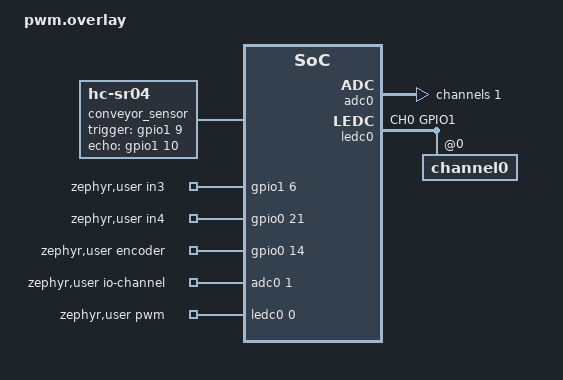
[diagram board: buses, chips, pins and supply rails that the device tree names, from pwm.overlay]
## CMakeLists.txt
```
cmake_minimum_required(VERSION 3.20.0)
list(APPEND EXTRA_CONF_FILE "${CMAKE_CURRENT_SOURCE_DIR}/pwm.conf")
list(APPEND EXTRA_DTC_OVERLAY_FILE "${CMAKE_CURRENT_SOURCE_DIR}/pwm.overlay")

find_package(Zephyr REQUIRED HINTS $ENV{ZEPHYR_BASE})
project(motor_test)

target_sources(app PRIVATE src/main.c)

option(MOTOR_STEP_TEST "Enable the encoder step response test" OFF)
if(MOTOR_STEP_TEST)
  target_compile_definitions(app PRIVATE MOTOR_STEP_TEST)
endif()
```

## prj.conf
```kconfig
CONFIG_GPIO=y
CONFIG_PRINTK=y
CONFIG_ESP_SPIRAM=n
```

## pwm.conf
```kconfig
CONFIG_PWM=y
CONFIG_ADC=y
CONFIG_SENSOR=y
```

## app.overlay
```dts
#include <zephyr/dt-bindings/pinctrl/esp32s3-pinctrl.h>

/ {
	chosen {
		zephyr,console = &uart0;
	};
};

&pinctrl {
	motor_uart0: motor_uart0 {
		group1 {
			pinmux = <UART0_TX_GPIO43>;
			output-high;
		};
		group2 {
			pinmux = <UART0_RX_GPIO44>;
			bias-pull-up;
		};
	};
};

&uart0 {
	status = "okay";
	current-speed = <115200>;
	pinctrl-0 = <&motor_uart0>;
	pinctrl-names = "default";
};
```

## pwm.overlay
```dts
#include <zephyr/dt-bindings/pinctrl/esp32s3-pinctrl.h>
#include <zephyr/dt-bindings/pwm/pwm.h>
#include <zephyr/dt-bindings/adc/adc.h>
#include <zephyr/dt-bindings/gpio/gpio.h>

/ {
	conveyor_sensor: conveyor-sensor {
		compatible = "hc-sr04";
		trigger-gpios = <&gpio1 9 GPIO_ACTIVE_HIGH>;
		echo-gpios = <&gpio1 10 GPIO_ACTIVE_HIGH>;
	};

	zephyr,user {
		pwms = <&ledc0 0 PWM_HZ(1000) PWM_POLARITY_NORMAL>;
		io-channels = <&adc0 1>;
		in3-gpios = <&gpio1 6 GPIO_ACTIVE_HIGH>;
		in4-gpios = <&gpio0 21 GPIO_ACTIVE_HIGH>;
		encoder-gpios = <&gpio0 14 GPIO_ACTIVE_HIGH>;
	};
};

&adc0 {
	status = "okay";
	#address-cells = <1>;
	#size-cells = <0>;

	channel@1 {
		reg = <1>;
		zephyr,gain = "ADC_GAIN_1_4";
		zephyr,reference = "ADC_REF_INTERNAL";
		zephyr,acquisition-time = <ADC_ACQ_TIME_DEFAULT>;
		zephyr,resolution = <12>;
	};
};

&pinctrl {
	motor_pwm_pins: motor_pwm_pins {
		group1 {
			pinmux = <LEDC_CH0_GPIO1>;
			output-enable;
		};
	};
};

&ledc0 {
	status = "okay";
	pinctrl-0 = <&motor_pwm_pins>;
	pinctrl-names = "default";
	#address-cells = <1>;
	#size-cells = <0>;

	channel0@0 {
		reg = <0>;
		timer = <0>;
	};
};
```

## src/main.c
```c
#include <zephyr/drivers/adc.h>
#include <zephyr/drivers/gpio.h>
#include <zephyr/drivers/pwm.h>
#include <zephyr/drivers/sensor.h>
#include <zephyr/kernel.h>
#include <zephyr/sys/atomic.h>
#include <zephyr/sys/printk.h>

#ifdef UNOQ_SORT_STATION
#include <zephyr/drivers/uart.h>
#include <zephyr/sys/ring_buffer.h>
#include <stdlib.h>
#endif

#define POT_STOP_MV 200
#define POT_FULL_MV 2800
#define MOTOR_MIN_DUTY 0
#define MOTOR_MAX_DUTY 50
#define OBJECT_STOP_MM 100
#define STATION_STOP_MM 25

#define MOTOR_NODE DT_PATH(zephyr_user)

static const struct gpio_dt_spec in3 = GPIO_DT_SPEC_GET(MOTOR_NODE, in3_gpios);
static const struct gpio_dt_spec in4 = GPIO_DT_SPEC_GET(MOTOR_NODE, in4_gpios);
static const struct pwm_dt_spec motor_enable = PWM_DT_SPEC_GET(MOTOR_NODE);

#ifndef UNOQ_AUTO_STEP_TEST
static const struct device *const distance_sensor = DEVICE_DT_GET(DT_NODELABEL(conveyor_sensor));

static bool conveyor_path_is_clear(int *measured_mm)
{
	static bool was_blocked;
	struct sensor_value distance;
	int64_t distance_mm = -1;

	if (device_is_ready(distance_sensor) &&
	    sensor_sample_fetch_chan(distance_sensor, SENSOR_CHAN_DISTANCE) == 0 &&
	    sensor_channel_get(distance_sensor, SENSOR_CHAN_DISTANCE, &distance) == 0) {
		distance_mm = sensor_value_to_milli(&distance);
	}
	if (measured_mm != NULL) {
		*measured_mm = (int)distance_mm;
	}

	bool blocked = distance_mm > 0 && distance_mm < OBJECT_STOP_MM;
	if (blocked != was_blocked) {
		if (blocked) {
			printk("Conveyor path blocked (distance %d mm)\n", (int)distance_mm);
		} else {
			printk("Conveyor path clear\n");
		}
		was_blocked = blocked;
	}

	return !blocked;
}
#endif

#if defined(MOTOR_STEP_TEST) || defined(UNOQ_CONVEYOR)
static const struct gpio_dt_spec encoder = GPIO_DT_SPEC_GET(MOTOR_NODE, encoder_gpios);
static struct gpio_callback encoder_callback;
static atomic_t encoder_count;

static void count_encoder_edge(const struct device *port, struct gpio_callback *callback,
			       gpio_port_pins_t pins)
{
	atomic_inc(&encoder_count);
}

static int setup_encoder(void)
{
	if (!gpio_is_ready_dt(&encoder)) {
		return -ENODEV;
	}

	int ret = gpio_pin_configure_dt(&encoder, GPIO_INPUT | GPIO_PULL_UP);
	if (ret < 0) {
		return ret;
	}

	gpio_init_callback(&encoder_callback, count_encoder_edge, BIT(encoder.pin));
	ret = gpio_add_callback(encoder.port, &encoder_callback);
	if (ret < 0) {
		return ret;
	}
	return gpio_pin_interrupt_configure_dt(&encoder, GPIO_INT_EDGE_RISING);
}
#endif

#if !defined(MOTOR_STEP_TEST) || (defined(UNOQ_CONVEYOR) && !defined(UNOQ_AUTO_STEP_TEST))
static const struct adc_dt_spec speed_knob = ADC_DT_SPEC_GET(MOTOR_NODE);

static int read_knob_mv(int32_t *voltage_mv)
{
	uint16_t raw;
	struct adc_sequence sequence = {
		.buffer = &raw,
		.buffer_size = sizeof(raw),
	};

	int ret = adc_sequence_init_dt(&speed_knob, &sequence);
	if (ret == 0) {
		ret = adc_read_dt(&speed_knob, &sequence);
	}
	if (ret < 0) {
		return ret;
	}

	*voltage_mv = raw;
	return adc_raw_to_millivolts_dt(&speed_knob, voltage_mv);
}
#endif

#ifdef MOTOR_STEP_TEST
#ifdef UNOQ_AUTO_STEP_TEST
#define STEP_LOW_DUTY 60U
#define STEP_HIGH_DUTY 90U
#define STEP_AT_MS 10000
#define STEP_END_MS 20000
#else
#define STEP_LOW_DUTY 35U
#define STEP_HIGH_DUTY 60U
#define STEP_AT_MS 5000
#define STEP_END_MS 10000
#endif
#define SAMPLE_MS 100

#ifdef UNOQ_CONVEYOR
struct step_sample {
	uint32_t elapsed_ms;
	uint32_t duty;
	uint32_t pulses;
};

/* Keep a copy for SWD readout after the run, when Linux owns the serial port. */
static volatile struct {
	uint32_t finished;
	uint32_t count;
	const char *error;
	struct step_sample samples[1 + STEP_END_MS / SAMPLE_MS];
} unoq_step_log;
#endif

#ifdef UNOQ_AUTO_STEP_TEST
static int wait_for_step_start(void)
{
	printk("Automatic step test starts in 5 seconds.\n");
	k_sleep(K_SECONDS(5));
	return 0;
}
#elif defined(UNOQ_CONVEYOR)
static int wait_for_step_start(void)
{
	int32_t voltage_mv;
	bool knob_zero_seen = false;

	printk("Step test ready. Turn the knob fully down, then fully up to start.\n");
	for (;;) {
		int ret = read_knob_mv(&voltage_mv);
		if (ret < 0) {
			return ret;
		}
		if (voltage_mv <= POT_STOP_MV) {
			knob_zero_seen = true;
		}
		if (knob_zero_seen && voltage_mv >= POT_FULL_MV) {
			return 0;
		}
		k_sleep(K_MSEC(20));
	}
}
#else
static const struct gpio_dt_spec boot_button = GPIO_DT_SPEC_GET(DT_ALIAS(sw0), gpios);

static int wait_for_step_start(void)
{
	printk("Press BOOT for the 35%% to 60%% PWM step test.\n");
	int pressed;
	do {
		k_sleep(K_MSEC(20));
		pressed = gpio_pin_get_dt(&boot_button);
	} while (pressed == 0);
	return pressed < 0 ? pressed : 0;
}
#endif

static void report_step_sample(uint32_t elapsed_ms, uint32_t duty, uint32_t pulses)
{
#ifdef UNOQ_CONVEYOR
	uint32_t index = unoq_step_log.count;

	unoq_step_log.samples[index] = (struct step_sample){elapsed_ms, duty, pulses};
	unoq_step_log.count = index + 1;
#endif
	printk("STEP,%u,%u,%u\n", elapsed_ms, duty, pulses);
}

static int set_step_duty(uint32_t duty)
{
	return pwm_set_pulse_dt(&motor_enable, motor_enable.period * duty / 100U);
}

static const char *record_step(void)
{
#ifndef UNOQ_AUTO_STEP_TEST
	if (!conveyor_path_is_clear(NULL)) {
		return "path blocked";
	}
#endif

	atomic_clear(&encoder_count);
	if (set_step_duty(STEP_LOW_DUTY) < 0) {
		return "could not apply the initial PWM duty";
	}

	int64_t start_ms = k_uptime_get();
	uint32_t duty = STEP_LOW_DUTY;
	atomic_val_t settling_count = 0;

	report_step_sample(0, duty, 0);
	for (int sample_ms = SAMPLE_MS; sample_ms <= STEP_END_MS; sample_ms += SAMPLE_MS) {
		k_sleep(K_TIMEOUT_ABS_MS(start_ms + sample_ms));
#if defined(UNOQ_CONVEYOR) && !defined(UNOQ_AUTO_STEP_TEST)
		int32_t voltage_mv;
		if (read_knob_mv(&voltage_mv) < 0 || voltage_mv <= POT_STOP_MV) {
			return "speed knob at zero or ADC error";
		}
#endif
#ifndef UNOQ_AUTO_STEP_TEST
		if (!conveyor_path_is_clear(NULL)) {
			return "path blocked";
		}
#endif

		atomic_val_t count = atomic_get(&encoder_count);
		if (sample_ms == STEP_AT_MS - 1000) {
			settling_count = count;
		}
		if (sample_ms == STEP_AT_MS) {
			if (count == settling_count) {
				return "no encoder pulses during the last second before the step";
			}
			if (set_step_duty(STEP_HIGH_DUTY) < 0) {
				return "could not apply the higher PWM duty";
			}
			duty = STEP_HIGH_DUTY;
		}
		report_step_sample((uint32_t)(k_uptime_get() - start_ms), duty, (uint32_t)count);
	}
	return NULL;
}

static const char *prepare_step_test(void)
{
#ifndef UNOQ_AUTO_STEP_TEST
	if (!device_is_ready(distance_sensor)) {
		return "distance sensor setup failed";
	}
#endif
#if defined(UNOQ_CONVEYOR) && !defined(UNOQ_AUTO_STEP_TEST)
	if (!adc_is_ready_dt(&speed_knob) || adc_channel_setup_dt(&speed_knob) < 0) {
		return "speed knob setup failed";
	}
#elif !defined(UNOQ_CONVEYOR)
	if (!gpio_is_ready_dt(&boot_button) ||
	    gpio_pin_configure_dt(&boot_button, GPIO_INPUT) < 0) {
		return "BOOT button setup failed";
	}
#endif

	if (setup_encoder() < 0) {
		return "encoder interrupt setup failed";
	}

	return wait_for_step_start() < 0 ? "could not read start control" : NULL;
}

static void run_step_test(void)
{
	const char *error = prepare_step_test();
	if (error == NULL) {
		error = record_step();
	}
	if (set_step_duty(0) < 0) {
		gpio_pin_set_dt(&in3, 0);
		gpio_pin_set_dt(&in4, 0);
		error = "could not set PWM to zero, motor inputs set low";
	}
#ifdef UNOQ_CONVEYOR
	unoq_step_log.error = error;
	unoq_step_log.finished = 1;
#endif
	if (error != NULL) {
		printk("STEP_ABORT,%s\n", error);
	} else {
		printk("STEP_DONE\n");
	}
}
#else
static void update_motor_speed(struct k_work *work);
static K_WORK_DELAYABLE_DEFINE(speed_work, update_motor_speed);

#ifdef UNOQ_SORT_STATION
static const struct device *const station_uart = DEVICE_DT_GET(DT_CHOSEN(zephyr_console));
RING_BUF_DECLARE(station_rx, 128);
static uint32_t station_command;
static int64_t run_until_ms;
static int station_stop_mm = STATION_STOP_MM;
static int station_trip_mm;
static uint32_t jog_start_pulses;
static int64_t jog_until_ms;

#define STATION_JOG_DUTY 65
#define STATION_JOG_TIMEOUT_MS 450

static void station_uart_rx(const struct device *uart, void *user_data)
{
	uint8_t bytes[16];
	int count;

	uart_irq_update(uart);
	if (!uart_irq_rx_ready(uart)) {
		return;
	}
	while ((count = uart_fifo_read(uart, bytes, sizeof(bytes))) > 0) {
		ring_buf_put(&station_rx, bytes, count);
	}
}

static void read_station_commands(void)
{
	static char line[24];
	static size_t length;
	static bool overflow;
	unsigned char ch;

	for (int i = 0; i < 128 && ring_buf_get(&station_rx, &ch, 1) == 1; i++) {
		if (ch == '\n') {
			if (!overflow && length > 2 && line[1] == ' ' &&
			    (line[0] == 'R' || line[0] == 'S' || line[0] == 'J') &&
			    line[2] >= '1' && line[2] <= '9') {
				char *end;
				unsigned long stop_mm = STATION_STOP_MM;

				line[length] = '\0';
				unsigned long id = strtoul(line + 2, &end, 10);
				if (line[0] == 'R' && *end == ' ') {
					stop_mm = strtoul(end + 1, &end, 10);
				}
				if (*end == '\0' && id < 1000000000UL && stop_mm >= 10 && stop_mm <= 400) {
					station_command = id;
					int64_t now = k_uptime_get();
					if (line[0] == 'S') {
						run_until_ms = 0;
						jog_until_ms = 0;
						station_trip_mm = 0;
					} else if (line[0] == 'J' && now >= run_until_ms && !jog_until_ms) {
						jog_start_pulses = (uint32_t)atomic_get(&encoder_count);
						jog_until_ms = now + STATION_JOG_TIMEOUT_MS;
					} else if (line[0] == 'R' && !station_trip_mm && !jog_until_ms) {
						station_stop_mm = (int)stop_mm;
						run_until_ms = now + 1200;
					}
				}
			}
			length = 0;
			overflow = false;
		} else if (length < sizeof(line) - 1) {
			line[length++] = ch;
		} else {
			overflow = true;
		}
	}
}
#endif

#ifdef UNOQ_SPEED_PI
#define SPEED_MIN_RPM 105
#define SPEED_MAX_RPM 120
#define SPEED_PULSES_PER_REV 20U
#define SPEED_WINDOW_SAMPLES 5U
#define SPEED_MAX_DUTY 90.0f
#define SPEED_KP 0.234f
#define SPEED_KI 0.635f
#define SPEED_NO_PULSE_MS 1200

static struct {
	struct {
		int64_t time_ms;
		uint32_t pulses;
	} history[SPEED_WINDOW_SAMPLES];
	uint32_t index;
	uint32_t samples;
	uint32_t last_pulses;
	int64_t last_pulse_ms;
	int64_t last_update_ms;
	float integral;
	bool encoder_fault;
} speed_pi;

static int update_speed_pi(int target_rpm, int64_t now, uint32_t pulses, int *measured_rpm)
{
	uint32_t index = speed_pi.index;
	int64_t window_ms = now - speed_pi.history[index].time_ms;
	int64_t update_ms = MIN(now - speed_pi.last_update_ms, 250);
	float speed = 0.0f;

	if (speed_pi.samples == 0 || pulses != speed_pi.last_pulses) {
		speed_pi.last_pulse_ms = now;
	}
	speed_pi.last_pulses = pulses;
	if (now - speed_pi.last_pulse_ms >= SPEED_NO_PULSE_MS) {
		return -EIO;
	}

	bool window_ready = speed_pi.samples == SPEED_WINDOW_SAMPLES && window_ms > 0;
	if (window_ready) {
		uint32_t pulse_delta = pulses - speed_pi.history[index].pulses;

		speed = (float)pulse_delta * 60000.0f / ((float)window_ms * SPEED_PULSES_PER_REV);
		*measured_rpm = (int)(speed + 0.5f);
	}
	speed_pi.history[index].time_ms = now;
	speed_pi.history[index].pulses = pulses;
	speed_pi.index = (index + 1) % SPEED_WINDOW_SAMPLES;
	speed_pi.samples = MIN(speed_pi.samples + 1, SPEED_WINDOW_SAMPLES);
	speed_pi.last_update_ms = now;

	/* The 60% to 90% run gave about 103 to 124 RPM. */
	float feedforward = 60.0f + (target_rpm - 103.0f) / 0.8f;
	if (!window_ready) {
		return (int)MAX(feedforward, 65.0f);
	}

	float error = target_rpm - speed;
	float base_duty = feedforward + SPEED_KP * error;
	float duty = base_duty + speed_pi.integral;
	if ((error > 0 && duty < SPEED_MAX_DUTY) || (error < 0 && duty > 0)) {
		speed_pi.integral += SPEED_KI * error * (float)update_ms / 1000.0f;
		duty = base_duty + speed_pi.integral;
	}
	return (int)(CLAMP(duty, 0.0f, SPEED_MAX_DUTY) + 0.5f);
}
#endif

static void update_motor_speed(struct k_work *work)
{
	static int last_duty;
#ifdef UNOQ_CONVEYOR
	static bool knob_zero_seen;
#ifndef UNOQ_SORT_STATION
	static int64_t next_status_ms;
#endif
	int distance_mm;
#endif
#ifdef UNOQ_SORT_STATION
	read_station_commands();
#endif
	int32_t voltage_mv;
	int ret = read_knob_mv(&voltage_mv);
	if (ret < 0) {
		pwm_set_pulse_dt(&motor_enable, 0);
		printk("Speed knob ADC error (%d). Motor test stopped.\n", ret);
		return;
	}

	int duty = 0;
#ifdef UNOQ_CONVEYOR
#ifdef UNOQ_SORT_STATION
	int64_t now = k_uptime_get();
	bool jog_cycle = jog_until_ms != 0;
	if (jog_until_ms && (now >= jog_until_ms || voltage_mv <= POT_STOP_MV ||
	    (uint32_t)atomic_get(&encoder_count) != jog_start_pulses)) {
		jog_until_ms = 0;
	}
	bool jogging = jog_until_ms != 0;
	bool seeking = now < run_until_ms;
	distance_mm = -1;
	if (seeking) {
		conveyor_path_is_clear(&distance_mm);
		if (distance_mm > 0 && distance_mm < station_stop_mm) {
			station_trip_mm = distance_mm;
			run_until_ms = 0;
		}
	}
	bool path_clear = k_uptime_get() < run_until_ms;
	bool run_allowed = path_clear || jogging;
#else
	bool path_clear = conveyor_path_is_clear(&distance_mm);
#endif
	if (!knob_zero_seen && voltage_mv <= POT_STOP_MV) {
		knob_zero_seen = true;
		printk("Speed knob at zero. Conveyor ready.\n");
	}
	path_clear = path_clear && knob_zero_seen;
#else
	bool path_clear = conveyor_path_is_clear(NULL);
#endif
#ifdef UNOQ_SPEED_PI
	int target_rpm = 0;
	int measured_rpm = 0;
	int64_t update_time = k_uptime_get();
	uint32_t encoder_pulses = (uint32_t)atomic_get(&encoder_count);

	if (voltage_mv <= POT_STOP_MV) {
		speed_pi.encoder_fault = false;
	}
	if (path_clear && voltage_mv > POT_STOP_MV && !speed_pi.encoder_fault) {
		int32_t travel = MIN(voltage_mv, POT_FULL_MV) - POT_STOP_MV;

		target_rpm = SPEED_MIN_RPM + travel * (SPEED_MAX_RPM - SPEED_MIN_RPM) /
			     (POT_FULL_MV - POT_STOP_MV);
		duty = update_speed_pi(target_rpm, update_time, encoder_pulses, &measured_rpm);
		if (duty < 0) {
			speed_pi.encoder_fault = true;
			duty = 0;
			printk("No encoder pulses. Turn the knob to zero to rearm.\n");
		}
	}
	if (duty == 0 && (target_rpm == 0 || speed_pi.encoder_fault)) {
		speed_pi.index = 0;
		speed_pi.samples = 0;
		speed_pi.integral = 0.0f;
	}
#else
	if (path_clear && voltage_mv > POT_STOP_MV) {
		int32_t travel = MIN(voltage_mv, POT_FULL_MV) - POT_STOP_MV;

		duty = MOTOR_MIN_DUTY + travel * (MOTOR_MAX_DUTY - MOTOR_MIN_DUTY) /
		       (POT_FULL_MV - POT_STOP_MV);
	}
#endif

#ifdef UNOQ_SORT_STATION
	bool jog_motor_ready = knob_zero_seen && voltage_mv > POT_STOP_MV;
#ifdef UNOQ_SPEED_PI
	jog_motor_ready = jog_motor_ready && !speed_pi.encoder_fault;
#endif
	if (jogging && jog_motor_ready) {
		duty = STATION_JOG_DUTY;
	}
#endif
	if (duty != last_duty) {
		ret = pwm_set_pulse_dt(&motor_enable, motor_enable.period * duty / 100U);
		if (ret < 0) {
			pwm_set_pulse_dt(&motor_enable, 0);
			printk("Motor PWM update failed (%d).\n", ret);
			return;
		}
		last_duty = duty;
		printk("Conveyor duty: %d%%\n", duty);
	}

#ifdef UNOQ_CONVEYOR
#ifdef UNOQ_SORT_STATION
	if (station_trip_mm) {
		distance_mm = station_trip_mm;
	} else if (!seeking && !jog_cycle) {
		conveyor_path_is_clear(&distance_mm);
	}
	printk("SORT %u %d %d %u %u\n", station_command, distance_mm, duty,
	       (unsigned int)atomic_get(&encoder_count), (unsigned int)run_allowed);
#else
	int64_t now = k_uptime_get();
	if (now >= next_status_ms) {
#ifdef UNOQ_SPEED_PI
		printk("Speed: target=%d RPM, measured=%d RPM, PWM=%d%%, distance=%d mm\n",
		       target_rpm, measured_rpm, duty, distance_mm);
#else
		printk("Conveyor: knob=%d mV, distance=%d mm, encoder=%u, PWM=%d%%\n",
		       (int)voltage_mv, distance_mm, (unsigned int)atomic_get(&encoder_count), duty);
#endif
		next_status_ms = now + 1000;
	}
#endif
#endif
#ifdef UNOQ_SORT_STATION
	k_work_schedule(k_work_delayable_from_work(work), K_MSEC(jogging ? 15 : 100));
#else
	k_work_schedule(k_work_delayable_from_work(work), K_MSEC(100));
#endif
}
#endif

#ifdef MOTOR_TEST_ON_BOOT
void motor_test_start(void);
void motor_test_start(void)
#else
static void motor_test_start(void)
#endif
{
	if (!gpio_is_ready_dt(&in3) || !gpio_is_ready_dt(&in4) ||
	    !pwm_is_ready_dt(&motor_enable)) {
		printk("Motor GPIO or PWM device is not ready.\n");
		return;
	}
	if (pwm_set_pulse_dt(&motor_enable, 0) < 0) {
		printk("Could not set motor PWM to zero.\n");
		return;
	}
	if (gpio_pin_configure_dt(&in3, GPIO_OUTPUT_ACTIVE) < 0 ||
	    gpio_pin_configure_dt(&in4, GPIO_OUTPUT_INACTIVE) < 0) {
		printk("Motor direction GPIO setup failed.\n");
		return;
	}

#ifdef MOTOR_STEP_TEST
	run_step_test();
#else
	if (!adc_is_ready_dt(&speed_knob)) {
		printk("Speed knob ADC device is not ready.\n");
		return;
	}
	if (!device_is_ready(distance_sensor)) {
#ifdef UNOQ_CONVEYOR
		printk("Distance sensor is not ready. Motor stopped.\n");
		return;
#else
		printk("Distance sensor is not ready. Speed knob remains active.\n");
#endif
	}

	int ret = adc_channel_setup_dt(&speed_knob);
	if (ret < 0) {
		printk("Could not configure speed knob (%d).\n", ret);
		return;
	}

#ifdef UNOQ_CONVEYOR
	ret = setup_encoder();
	if (ret < 0) {
		printk("Encoder setup failed (%d). Motor stopped.\n", ret);
		return;
	}
	printk("UNO Q conveyor. Turn knob to zero before running. Distance -1 means no echo.\n");
#endif
	printk("Conveyor speed knob ready. PWM at %u Hz.\n",
	       NSEC_PER_SEC / motor_enable.period);
#ifdef UNOQ_SORT_STATION
	if (!device_is_ready(station_uart) ||
	    uart_irq_callback_user_data_set(station_uart, station_uart_rx, NULL) < 0) {
		printk("Sorting UART setup failed. Motor stopped.\n");
		return;
	}
	uart_irq_rx_enable(station_uart);
	printk("Sorting mode. Conveyor waits for the PC controller.\n");
#else
	printk("Conveyor stops for readings below %d mm.\n", OBJECT_STOP_MM);
#endif
	k_work_schedule(&speed_work, K_NO_WAIT);
#endif
}

#ifndef MOTOR_TEST_ON_BOOT
int main(void)
{
	motor_test_start();
	k_sleep(K_FOREVER);
	return 0;
}
#endif
```
